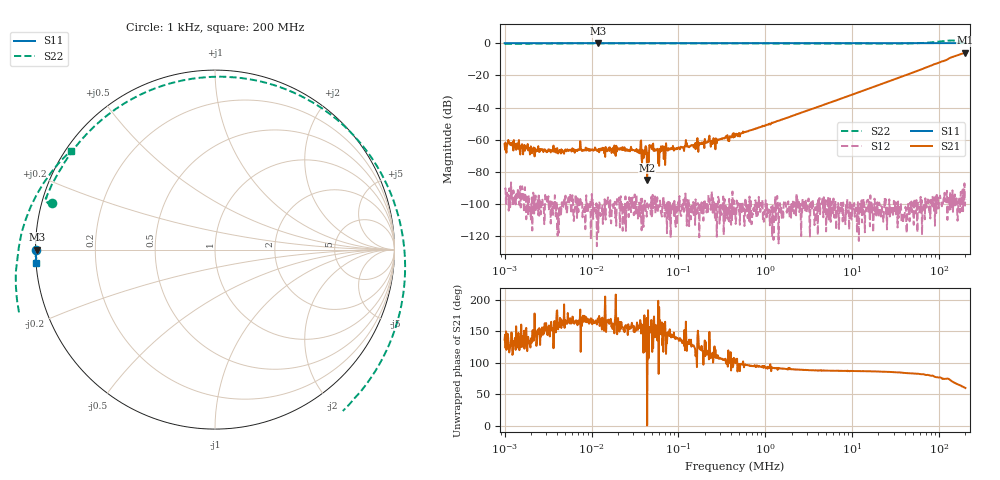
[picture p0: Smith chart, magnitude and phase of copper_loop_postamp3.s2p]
! ListType=Log
# MHZ S RI R 50
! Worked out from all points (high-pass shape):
!   1000 points, 1 kHz to 200 MHz, reference 50 ohm
!   highest |S21| = -5.88 dB at 200 MHz (marker M1); lowest = -84.9 dB at 43.62 kHz (marker M2)
!   |S21| within 3 dB of the highest: 137.3 MHz to end of sweep
!   lowest |S11| = -0.1 dB at 11.95 kHz (marker M3), VSWR 289.43, Z = 0.173 + j0.00866 ohm
!   |S11| at or under -10 dB: nowhere
!   |S22| runs from -0.5 to 1.7 dB; largest |S21 - S12| = 0.51
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0.001  -0.9965 -0.000437  -0.000541 0.00051  -1.15e-05 -2.99e-05  -0.9089 0.26
0.0011721  -0.9969 -0.000412  -0.000505 0.000625  1.14e-05 -1.18e-05  -0.9124 0.2585
0.0021858  -0.9969 -0.000531  -0.000348 0.000289  -2.6e-06 -4.4e-06  -0.9279 0.2587
0.0076941  -0.9972 -8.01e-05  -0.000434 0.000173  -2.1e-06 8.4e-06  -0.9422 0.2759
0.011945  -0.9931 0.000344  -0.000436 7.12e-05  -1.2e-06 6e-07  -0.9435 0.2782
0.0350061  -0.997 -7.8e-05  -0.0004 0.000183  4.1e-06 2.8e-06  -0.9416 0.2861
0.0436172  -0.9972 -8.42e-05  5.66e-05 2e-07  -7.7e-06 -7.4e-06  -0.9412 0.287
0.0492857  -0.9971 -4.55e-05  -0.000451 0.000248  -2e-07 -4.2e-06  -0.9409 0.2876
0.0584804  -0.997 -6.18e-05  -0.000177 -5.99e-05  1.1e-06 -7.5e-06  -0.9406 0.2882
0.4499541  -0.9971 -0.000196  -0.000247 0.00123  1.8e-06 7.1e-06  -0.9349 0.303
3.419952  -0.9973 -0.00135  0.000271 0.00902  -1.8e-06 -7.2e-06  -0.8867 0.4028
12.03851  -0.9977 -0.00457  0.00169 0.0302  -7.5e-06 -3e-07  -0.7122 0.6466
26.31347  -0.998 -0.00958  0.00515 0.0649  3.6e-06 -3.5e-06  -0.3118 0.9064
50.9003  -0.9983 -0.0178  0.0153 0.1234  -1e-07 -2.3e-06  0.4925 0.8486
64.99008  -0.9981 -0.0227  0.0224 0.1582  6e-06 -3.9e-06  0.8567 0.5339
81.97236  -0.9981 -0.0286  0.0367 0.1998  5.3e-06 -7.1e-06  1.057 -0.0223
103.3922  -0.9977 -0.0361  0.0599 0.2522  -9.6e-06 -1.12e-05  0.8402 -0.7545
128.8255  -0.9952 -0.0462  0.0902 0.3186  -1.25e-05 -1.01e-05  0.0311 -1.195
145.5678  -0.9993 -0.0538  0.1359 0.3559  5.8e-06 -1.22e-05  -0.5687 -1.06
164.4859  -0.9988 -0.0595  0.1763 0.3865  4.6e-06 -3.3e-06  -1.028 -0.5582
179.1732  -0.9991 -0.0652  0.2079 0.4135  -1.87e-05 -8.8e-06  -1.102 -0.0581
200  -0.9994 -0.0754  0.2554 0.4395  -1.29e-05 -6.6e-06  -0.8026 0.5506
